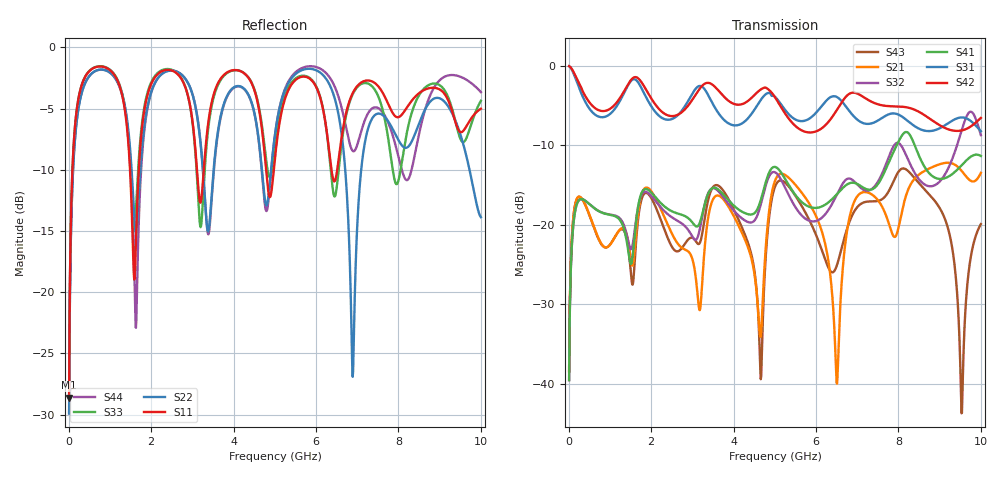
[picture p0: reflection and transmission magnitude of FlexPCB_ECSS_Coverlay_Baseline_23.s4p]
! TOUCHSTONE file generated by CST MICROWAVE STUDIO
! Date and time: Sun Jul  5 19:09:46 2026
! Project name: FlexPCB_ECSS_Coverlay_Baseline.cst
! Parameters = {Gap=1; GroundW=7.6; Hadh=0.025; Hcov=0.025; Hsub=0.1; L=50; Tcu=0.035; W=0.16}
! Header version: 2024
! Port assignment regex: !\s*Touchstone port\s*([0-9]+)\s*=\s*(CST MWS port|CST DES external port|CST DES block port)\s*(.+)\s* \(\"(.*)\"\)(\s*mode\s*([0-9]+))?.*
! Touchstone port assignment:
! Touchstone port 1 = CST MWS port 1 ("")
! Touchstone port 2 = CST MWS port 2 ("")
! Touchstone port 3 = CST MWS port 3 ("")
! Touchstone port 4 = CST MWS port 4 ("")
# GHz S MA R 50
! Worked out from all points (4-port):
!   1002 points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, 10 MHz to 10 GHz, reference 50 ohm
!   strongest paths, dB at 10 MHz, 2.51 GHz, 5.01 GHz, 7.503 GHz, 10 GHz:
!     S42: 0.0, -6.3, -4.0, -4.8, -6.5
!     S31: 0.0, -6.7, -3.9, -6.9, -8.2
!     S41: -39.6, -18.3, -12.7, -14.9, -11.3
!     S32: -39.6, -19.1, -13.4, -14.6, -8.7
!     S21: -38.4, -21.2, -14.4, -16.9, -13.5
!     S43: -38.4, -22.8, -15.1, -17.0, -19.9
!   lowest |S11| = -28.6 dB at 10 MHz (marker M1), VSWR 1.08, Z = 49.8 - j3.7 ohm
!   |S11| at or under -10 dB: 1.487 GHz to 1.7 GHz (213 MHz wide, 13.4 % of centre); 3.112 GHz to 3.277 GHz (164.9 MHz wide, 5.16 % of centre); 4.788 GHz to 4.977 GHz (188.5 MHz wide, 3.86 % of centre)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
0.01  0.03706 -91.0  0.01196 85.4  0.9979 -2.6  0.01053 85.7
      0.01196 85.4  0.032 -90.4  0.01053 85.7  0.9981 -2.3
      0.9979 -2.6  0.01053 85.7  0.03706 -91.0  0.01196 85.4
      0.01053 85.7  0.9981 -2.3  0.01196 85.4  0.032 -90.4
0.55  0.8129 -166.6  0.1075 -22.8  0.5201 -75.8  0.1317 -56.7
      0.1075 -22.8  0.7797 -164.5  0.1317 -56.3  0.5708 -74.0
      0.5201 -75.8  0.1317 -56.3  0.8145 -166.0  0.1065 -21.8
      0.1317 -56.7  0.5708 -74.0  0.1065 -21.8  0.7796 -164.7
1.62  0.1387 -150.5  0.08025 28.6  0.8214 174.4  0.09684 -123.7
      0.08025 28.6  0.1778 168.5  0.1012 -133.3  0.8518 -179.5
      0.8214 174.4  0.1012 -133.3  0.2022 -162.4  0.06965 39.6
      0.09684 -123.7  0.8518 -179.5  0.06965 39.6  0.07665 159.0
3.33  0.4052 -147.5  0.087 26.3  0.6939 -23.2  0.1436 41.0
      0.087 26.3  0.2072 142.9  0.1446 47.8  0.7804 -0.3
      0.6939 -23.2  0.1446 47.8  0.3724 -142.9  0.1225 16.8
      0.1436 41.0  0.7804 -0.3  0.1225 16.8  0.2094 147.5
4.79  0.3139 149.9  0.07768 36.6  0.6674 -167.2  0.189 -108.6
      0.07768 36.6  0.2267 169.1  0.1805 -104.1  0.7292 -173.4
      0.6674 -167.2  0.1805 -104.1  0.3475 155.7  0.06903 49.6
      0.189 -108.6  0.7292 -173.4  0.06903 49.6  0.2149 -178.9
6.42  0.2876 171.7  0.02903 -154.9  0.6456 4.5  0.1477 70.6
      0.02903 -154.9  0.6455 121.7  0.1401 89.2  0.489 36.7
      0.6456 4.5  0.1401 89.2  0.2548 164.7  0.05046 -51.0
      0.1477 70.6  0.489 36.7  0.05046 -51.0  0.7107 153.9
10  0.5615 -179.4  0.2125 12.7  0.3886 -47.9  0.2713 40.1
    0.2125 12.7  0.2026 29.0  0.3673 41.5  0.4714 -9.3
    0.3886 -47.9  0.3673 41.5  0.6048 -159.7  0.1011 -13.9
    0.2713 40.1  0.4714 -9.3  0.1011 -13.9  0.6564 164.7
